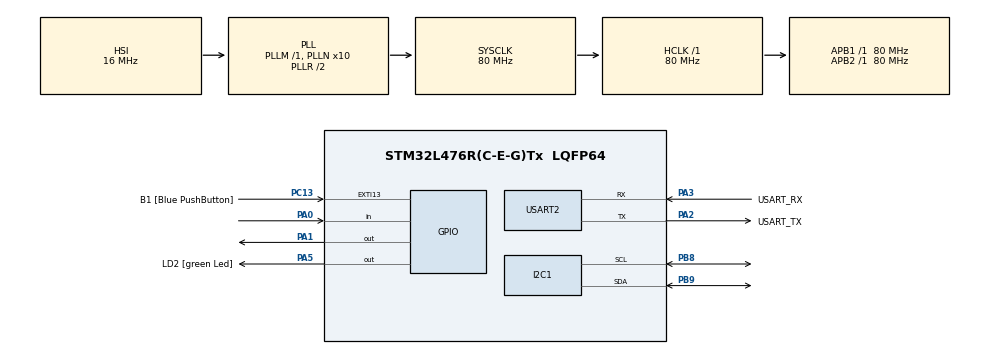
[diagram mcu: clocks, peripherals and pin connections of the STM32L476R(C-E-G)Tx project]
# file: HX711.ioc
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I2C1.Timing=0x10909CEC
Mcu.Family=STM32L4
Mcu.Name=STM32L476R(C-E-G)Tx
Mcu.Package=LQFP64
NVIC.PriorityGroup=NVIC_PRIORITYGROUP_4
PA0.Signal=GPIO_Input
PA1.Signal=GPIO_Output
PA13\ (JTMS-SWDIO).GPIO_Label=TMS
PA13\ (JTMS-SWDIO).Mode=Serial_Wire
PA13\ (JTMS-SWDIO).Signal=SYS_JTMS-SWDIO
PA14\ (JTCK-SWCLK).GPIO_Label=TCK
PA14\ (JTCK-SWCLK).Mode=Serial_Wire
PA14\ (JTCK-SWCLK).Signal=SYS_JTCK-SWCLK
PA2.GPIO_Label=USART_TX
PA2.GPIO_Mode=GPIO_MODE_AF_PP
PA2.GPIO_PuPd=GPIO_NOPULL
PA2.GPIO_Speed=GPIO_SPEED_FREQ_VERY_HIGH
PA2.Mode=Asynchronous
PA2.Signal=USART2_TX
PA3.GPIO_Label=USART_RX
PA3.GPIO_Mode=GPIO_MODE_AF_PP
PA3.GPIO_PuPd=GPIO_NOPULL
PA3.GPIO_Speed=GPIO_SPEED_FREQ_VERY_HIGH
PA3.Mode=Asynchronous
PA3.Signal=USART2_RX
PA5.GPIO_Label=LD2 [green Led]
PA5.GPIO_ModeDefaultOutputPP=GPIO_MODE_OUTPUT_PP
PA5.GPIO_PuPd=GPIO_NOPULL
PA5.GPIO_Speed=GPIO_SPEED_FREQ_LOW
PA5.Signal=GPIO_Output
PB3\ (JTDO-TRACESWO).GPIO_Label=SWO
PB3\ (JTDO-TRACESWO).Signal=SYS_JTDO-SWO
PB8.Mode=I2C
PB8.Signal=I2C1_SCL
PB9.Mode=I2C
PB9.Signal=I2C1_SDA
PC13.GPIO_Label=B1 [Blue PushButton]
PC13.GPIO_ModeDefaultEXTI=GPIO_MODE_IT_FALLING
PC13.GPIO_PuPd=GPIO_NOPULL
PC13.Signal=GPXTI13
PC14-OSC32_IN\ (PC14).Mode=LSE-External-Oscillator
PC14-OSC32_IN\ (PC14).Signal=RCC_OSC32_IN
PC15-OSC32_OUT\ (PC15).Mode=LSE-External-Oscillator
PC15-OSC32_OUT\ (PC15).Signal=RCC_OSC32_OUT
PH0-OSC_IN\ (PH0).Signal=RCC_OSC_IN
PH1-OSC_OUT\ (PH1).Signal=RCC_OSC_OUT
ProjectManager.HeapSize=0x200
ProjectManager.StackSize=0x400
ProjectManager.TargetToolchain=STM32CubeIDE
RCC.ADCFreq_Value=64000000
RCC.AHBFreq_Value=80000000
RCC.APB1Freq_Value=80000000
RCC.APB1TimFreq_Value=80000000
RCC.APB2Freq_Value=80000000
RCC.APB2TimFreq_Value=80000000
RCC.CortexFreq_Value=80000000
RCC.HCLKFreq_Value=80000000
RCC.HSE_VALUE=8000000
RCC.HSI_VALUE=16000000
RCC.MSI_VALUE=4000000
RCC.PLLN=10
RCC.PLLSourceVirtual=RCC_PLLSOURCE_HSI
RCC.PREFETCH_ENABLE=1
RCC.SYSCLKFreq_VALUE=80000000
RCC.SYSCLKSource=RCC_SYSCLKSOURCE_PLLCLK
RCC.USBFreq_Value=64000000
RCC.VCOOutputFreq_Value=160000000
TIM6.Prescaler=79
USART2.VirtualMode-Asynchronous=VM_ASYNC
VP_TIM6_VS_ClockSourceINT.Mode=Enable_Timer
board=NUCLEO-L476RG

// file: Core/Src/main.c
/* USER CODE BEGIN Header */
/**
  ******************************************************************************
  * @file           : main.c
  * @brief          : Main program body
  ******************************************************************************
  * @attention
  *
  * Copyright (c) 2026 STMicroelectronics.
  * All rights reserved.
  *
  * This software is licensed under terms that can be found in the LICENSE file
  * in the root directory of this software component.
  * If no LICENSE file comes with this software, it is provided AS-IS.
  *
  ******************************************************************************
  */
/* USER CODE END Header */
#include "main.h"
#include "i2c.h"
#include "tim.h"
#include "usart.h"
#include "gpio.h"

/* USER CODE BEGIN PD */
#include "lcd.h"
#include "hx711.h"
#include <stdio.h>

/* USER CODE END PD */

/* USER CODE BEGIN PV */
rgb_lcd lcd;
//uint8_t temp, hum;

/* USER CODE END PV */

void SystemClock_Config(void);

int main(void)
{

  /* MCU Configuration--------------------------------------------------------*/

  /* Reset of all peripherals, Initializes the Flash interface and the Systick. */
  HAL_Init();

  /* Configure the system clock */
  SystemClock_Config();

  /* Initialize all configured peripherals */
  MX_GPIO_Init();
  MX_USART2_UART_Init();
  MX_TIM6_Init();
  MX_I2C1_Init();
  /* USER CODE BEGIN 2 */
  HAL_TIM_Base_Start(&htim6);
  lcd_init(&hi2c1, &lcd);      // init LCD

  char lcd_buffer[16];

  HX711_HandleTypeDef hx;

  hx.dt_port = GPIOA;
  hx.dt_pin = GPIO_PIN_0;
  hx.sck_port = GPIOA;
  hx.sck_pin = GPIO_PIN_1;

  lcd_init(&hi2c1, &lcd);      // init LCD
  lcd_position(&hi2c1, 0, 0);
  lcd_print(&hi2c1, "START");
  reglagecouleur(255,255,255);
  HX711_Init(&hx);
  HAL_Delay(2000);

  float poids = 0;

  /* USER CODE END 2 */

  /* Infinite loop */
  while (1)
  {

    /* USER CODE BEGIN 3 */

	 poids = HX711_GetWeight(&hx);
	 //lcd_print(&hi2c1, "S");
	 sprintf(lcd_buffer, "%.2f g", poids);
	 clearlcd();
	 lcd_position(&hi2c1, 0, 0);
	 lcd_print(&hi2c1, "Poids:");

	 lcd_position(&hi2c1, 0, 1);
	 lcd_print(&hi2c1, lcd_buffer);

	 HAL_Delay(1000);

  }
  /* USER CODE END 3 */
}

void SystemClock_Config(void)
{
  RCC_OscInitTypeDef RCC_OscInitStruct = {0};
  RCC_ClkInitTypeDef RCC_ClkInitStruct = {0};

  /** Configure the main internal regulator output voltage
  */
  if (HAL_PWREx_ControlVoltageScaling(PWR_REGULATOR_VOLTAGE_SCALE1) != HAL_OK)
  {
    Error_Handler();
  }

  /** Initializes the RCC Oscillators according to the specified parameters
  * in the RCC_OscInitTypeDef structure.
  */
  RCC_OscInitStruct.OscillatorType = RCC_OSCILLATORTYPE_HSI;
  RCC_OscInitStruct.HSIState = RCC_HSI_ON;
  RCC_OscInitStruct.HSICalibrationValue = RCC_HSICALIBRATION_DEFAULT;
  RCC_OscInitStruct.PLL.PLLState = RCC_PLL_ON;
  RCC_OscInitStruct.PLL.PLLSource = RCC_PLLSOURCE_HSI;
  RCC_OscInitStruct.PLL.PLLM = 1;
  RCC_OscInitStruct.PLL.PLLN = 10;
  RCC_OscInitStruct.PLL.PLLP = RCC_PLLP_DIV7;
  RCC_OscInitStruct.PLL.PLLQ = RCC_PLLQ_DIV2;
  RCC_OscInitStruct.PLL.PLLR = RCC_PLLR_DIV2;
  if (HAL_RCC_OscConfig(&RCC_OscInitStruct) != HAL_OK)
  {
    Error_Handler();
  }

  /** Initializes the CPU, AHB and APB buses clocks
  */
  RCC_ClkInitStruct.ClockType = RCC_CLOCKTYPE_HCLK|RCC_CLOCKTYPE_SYSCLK
                              |RCC_CLOCKTYPE_PCLK1|RCC_CLOCKTYPE_PCLK2;
  RCC_ClkInitStruct.SYSCLKSource = RCC_SYSCLKSOURCE_PLLCLK;
  RCC_ClkInitStruct.AHBCLKDivider = RCC_SYSCLK_DIV1;
  RCC_ClkInitStruct.APB1CLKDivider = RCC_HCLK_DIV1;
  RCC_ClkInitStruct.APB2CLKDivider = RCC_HCLK_DIV1;

  if (HAL_RCC_ClockConfig(&RCC_ClkInitStruct, FLASH_LATENCY_4) != HAL_OK)
  {
    Error_Handler();
  }
}

void Error_Handler(void)
{
  __disable_irq();
  while (1)
  {
  }
}
